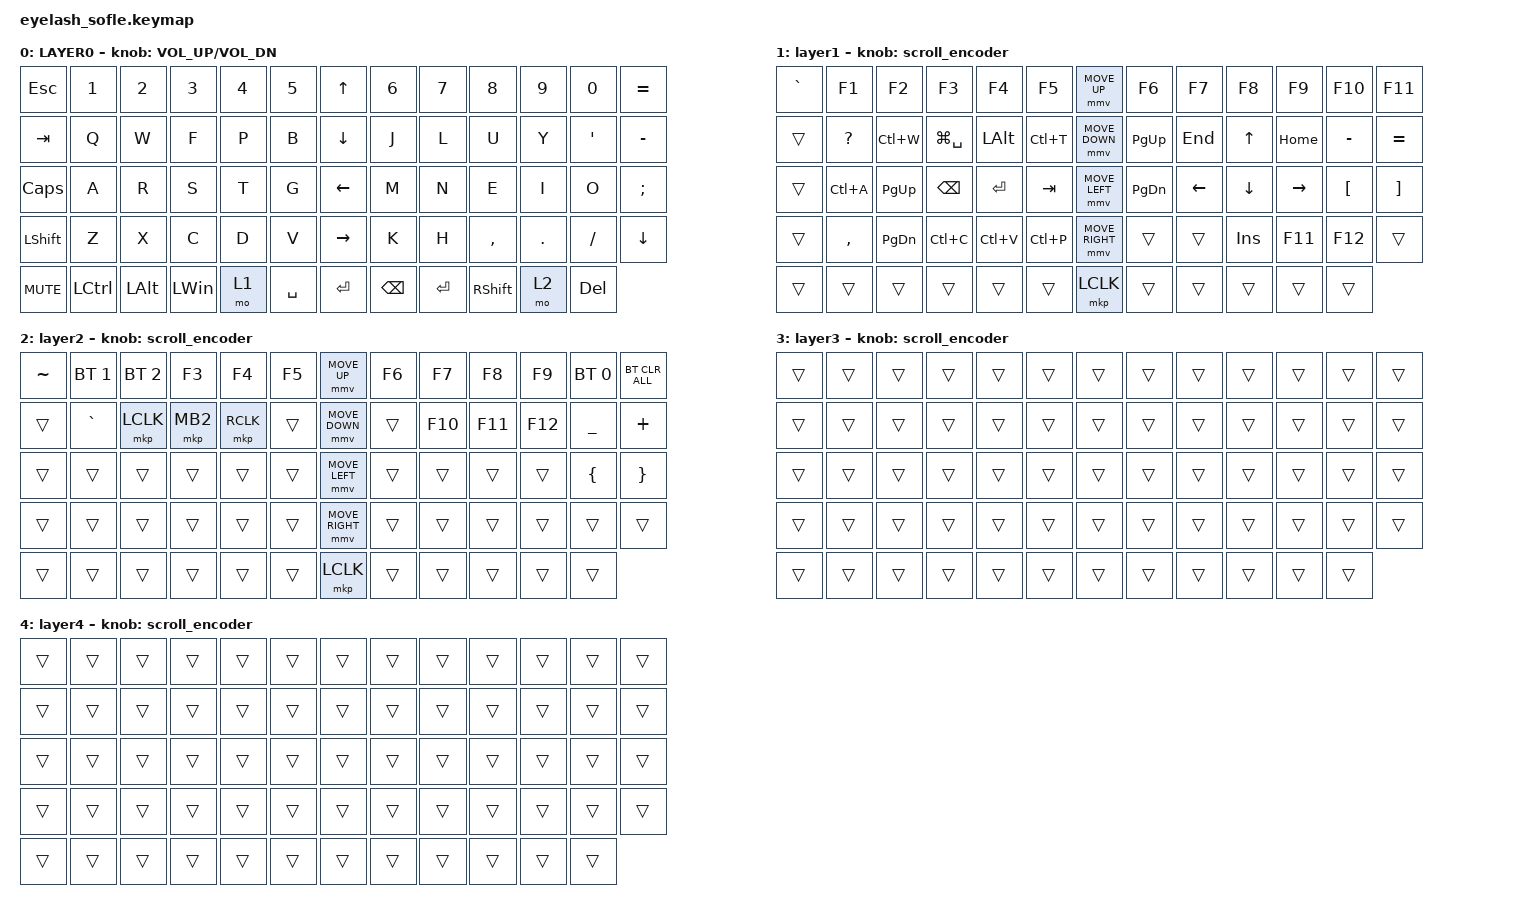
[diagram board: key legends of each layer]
#define ZMK_POINTING_DEFAULT_MOVE_VAL 1200  // 600
#define ZMK_POINTING_DEFAULT_SCRL_VAL 25   // 10

#include <input/processors.dtsi>
#include <zephyr/dt-bindings/input/input-event-codes.h>
#include <behaviors.dtsi>
#include <dt-bindings/zmk/bt.h>
#include <dt-bindings/zmk/keys.h>
#include <dt-bindings/zmk/pointing.h>

&mmv_input_listener { input-processors = <&zip_xy_scaler 2 1>; };

&msc_input_listener { input-processors = <&zip_scroll_scaler 2 1>; };

&msc {
    acceleration-exponent = <1>;      // 0
    time-to-max-speed-ms = <100>;       // 300
    delay-ms = <0>;                   // 0
};

&mmv {
    time-to-max-speed-ms = <500>;
    acceleration-exponent = <1>;
    trigger-period-ms = <16>;
};

&soft_off { hold-time-ms = <2000>; };

/ {
    scroll_encoder: scroll_encoder {
        compatible = "zmk,behavior-sensor-rotate";
        #sensor-binding-cells = <0>;
        bindings = <&msc SCRL_DOWN>, <&msc SCRL_UP>;

        tap-ms = <100>;
    };

    behaviors {
    };

    combos {
        compatible = "zmk,combos";

        softoff {
            bindings = <&soft_off>;
            key-positions = <14 28 40>;
        };
    };

    macros {
        SHIFT_MCLK: SHIFT_MCLK {
            compatible = "zmk,behavior-macro";
            #binding-cells = <0>;
            bindings =
                <&macro_press>,
                <&kp LEFT_SHIFT>,
                <&macro_press>,
                <&mkp MB3>,
                <&macro_pause_for_release>,
                <&macro_release>,
                <&kp LEFT_SHIFT &mkp MB3>;

            label = "SHIFT_MCLK";
        };
    };

    keymap {
        compatible = "zmk,keymap";

        layer0 {
            bindings = <
&kp ESC     &kp N1     &kp N2        &kp N3        &kp N4  &kp N5       &kp UP_ARROW     &kp N6         &kp N7     &kp N8           &kp N9   &kp N0      &kp EQUAL
&kp TAB     &kp Q      &kp W         &kp F         &kp P   &kp B        &kp DOWN_ARROW   &kp J          &kp L      &kp U            &kp Y    &kp SQT     &kp MINUS
&kp CAPS    &kp A      &kp R         &kp S         &kp T   &kp G        &kp LEFT_ARROW   &kp M          &kp N      &kp E            &kp I    &kp O       &kp SEMICOLON
&kp LSHFT   &kp Z      &kp X         &kp C         &kp D   &kp V        &kp RIGHT_ARROW  &kp K          &kp H      &kp COMMA        &kp DOT  &kp FSLH    &kp DOWN
&kp C_MUTE  &kp LCTRL  &kp LEFT_ALT  &kp LEFT_WIN  &mo 1   &kp SPACE    &kp ENTER        &kp BACKSPACE  &kp ENTER  &kp RIGHT_SHIFT  &mo 2    &kp DELETE
            >;

            sensor-bindings = <&inc_dec_kp C_VOLUME_UP C_VOL_DN>;
            display-name = "LAYER0";
        };

        layer_1 {
            bindings = <
&kp GRAVE  &kp F1        &kp F2         &kp F3         &kp F4        &kp F5       &mmv MOVE_UP     &kp F6       &kp F7    &kp F8      &kp F9     &kp F10           &kp F11
&trans     &kp QUESTION  &kp LC(W)      &kp LG(SPACE)  &kp LEFT_ALT  &kp LC(T)    &mmv MOVE_DOWN   &kp PAGE_UP  &kp END   &kp UP      &kp HOME   &kp MINUS         &kp EQUAL
&trans     &kp LC(A)     &kp PG_UP      &kp BACKSPACE  &kp ENTER     &kp TAB      &mmv MOVE_LEFT   &kp PG_DN    &kp LEFT  &kp DOWN    &kp RIGHT  &kp LEFT_BRACKET  &kp RIGHT_BRACKET
&trans     &kp COMMA     &kp PAGE_DOWN  &kp LC(C)      &kp LC(V)     &kp LC(P)    &mmv MOVE_RIGHT  &trans       &trans    &kp INSERT  &kp F11    &kp F12           &trans
&trans     &trans        &trans         &trans         &trans        &trans       &mkp LCLK        &trans       &trans    &trans      &trans     &trans
            >;

            display-name = "layer1";
            sensor-bindings = <&scroll_encoder>;
        };

        layer_2 {
            bindings = <
&kp TILDE  &bt BT_SEL 1  &bt BT_SEL 2  &kp F3    &kp F4     &kp F5    &mmv MOVE_UP     &kp F6  &kp F7   &kp F8   &kp F9   &bt BT_SEL 0  &bt BT_CLR_ALL
&trans     &kp GRAVE     &mkp LCLK     &mkp MB2  &mkp RCLK  &trans    &mmv MOVE_DOWN   &trans  &kp F10  &kp F11  &kp F12  &kp UNDER     &kp PLUS
&trans     &trans        &trans        &trans    &trans     &trans    &mmv MOVE_LEFT   &trans  &trans   &trans   &trans   &kp LBRC      &kp RBRC
&trans     &trans        &trans        &trans    &trans     &trans    &mmv MOVE_RIGHT  &trans  &trans   &trans   &trans   &trans        &trans
&trans     &trans        &trans        &trans    &trans     &trans    &mkp LCLK        &trans  &trans   &trans   &trans   &trans
            >;

            display-name = "layer2";
            sensor-bindings = <&scroll_encoder>;
        };

        layer_3 {
            bindings = <
&trans  &trans  &trans  &trans  &trans  &trans    &trans  &trans  &trans  &trans  &trans  &trans  &trans
&trans  &trans  &trans  &trans  &trans  &trans    &trans  &trans  &trans  &trans  &trans  &trans  &trans
&trans  &trans  &trans  &trans  &trans  &trans    &trans  &trans  &trans  &trans  &trans  &trans  &trans
&trans  &trans  &trans  &trans  &trans  &trans    &trans  &trans  &trans  &trans  &trans  &trans  &trans
&trans  &trans  &trans  &trans  &trans  &trans    &trans  &trans  &trans  &trans  &trans  &trans
            >;

            display-name = "layer3";
            sensor-bindings = <&scroll_encoder>;
        };

        layer_4 {
            bindings = <
&trans  &trans  &trans  &trans  &trans  &trans    &trans  &trans  &trans  &trans  &trans  &trans  &trans
&trans  &trans  &trans  &trans  &trans  &trans    &trans  &trans  &trans  &trans  &trans  &trans  &trans
&trans  &trans  &trans  &trans  &trans  &trans    &trans  &trans  &trans  &trans  &trans  &trans  &trans
&trans  &trans  &trans  &trans  &trans  &trans    &trans  &trans  &trans  &trans  &trans  &trans  &trans
&trans  &trans  &trans  &trans  &trans  &trans    &trans  &trans  &trans  &trans  &trans  &trans
            >;

            display-name = "layer4";
            sensor-bindings = <&scroll_encoder>;
        };
    };
};
